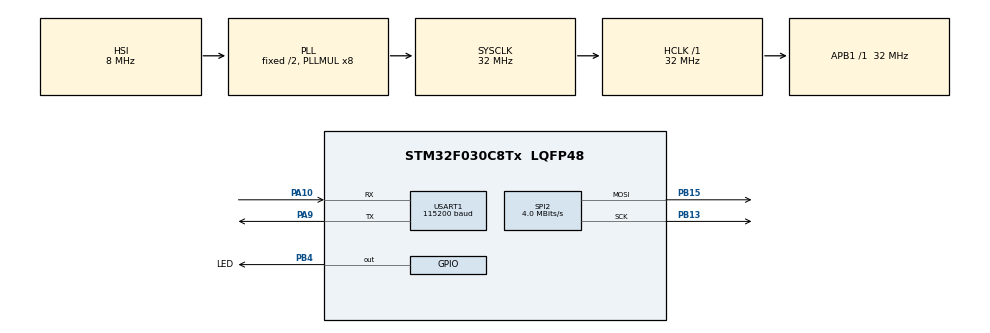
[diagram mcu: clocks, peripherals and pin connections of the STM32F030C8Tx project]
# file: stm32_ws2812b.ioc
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Dma.Request0=SPI2_TX
Dma.SPI2_TX.0.Direction=DMA_MEMORY_TO_PERIPH
Dma.SPI2_TX.0.Instance=DMA1_Channel5
Dma.SPI2_TX.0.MemDataAlignment=DMA_MDATAALIGN_BYTE
Dma.SPI2_TX.0.MemInc=DMA_MINC_ENABLE
Dma.SPI2_TX.0.Mode=DMA_NORMAL
Dma.SPI2_TX.0.PeriphDataAlignment=DMA_PDATAALIGN_BYTE
Dma.SPI2_TX.0.PeriphInc=DMA_PINC_DISABLE
Dma.SPI2_TX.0.Priority=DMA_PRIORITY_LOW
Mcu.Family=STM32F0
Mcu.Name=STM32F030C8Tx
Mcu.Package=LQFP48
NVIC.DMA1_Channel4_5_IRQn=true\:0\:0\:false\:false\:true\:false
NVIC.SPI2_IRQn=true\:0\:0\:false\:false\:true\:true
NVIC.USART1_IRQn=true\:0\:0\:false\:false\:false\:true
PA10.Mode=Asynchronous
PA10.Signal=USART1_RX
PA13.Mode=Serial_Wire
PA13.Signal=SYS_SWDIO
PA14.Mode=Serial_Wire
PA14.Signal=SYS_SWCLK
PA9.Mode=Asynchronous
PA9.Signal=USART1_TX
PB13.Mode=TX_Only_Simplex_Unidirect_Master
PB13.Signal=SPI2_SCK
PB15.Mode=TX_Only_Simplex_Unidirect_Master
PB15.Signal=SPI2_MOSI
PB4.GPIO_Label=LED
PB4.Signal=GPIO_Output
ProjectManager.HeapSize=0x200
ProjectManager.StackSize=0x400
ProjectManager.TargetToolchain=Makefile
RCC.AHBFreq_Value=32000000
RCC.APB1Freq_Value=32000000
RCC.APB1TimFreq_Value=32000000
RCC.HCLKFreq_Value=32000000
RCC.PLLMUL=RCC_PLL_MUL8
RCC.SYSCLKFreq_VALUE=32000000
RCC.SYSCLKSource=RCC_SYSCLKSOURCE_PLLCLK
SPI2.BaudRatePrescaler=SPI_BAUDRATEPRESCALER_8
SPI2.CLKPhase=SPI_PHASE_2EDGE
SPI2.CalculateBaudRate=4.0 MBits/s
SPI2.DataSize=SPI_DATASIZE_8BIT
SPI2.Direction=SPI_DIRECTION_2LINES
SPI2.Mode=SPI_MODE_MASTER
SPI2.VirtualType=VM_MASTER
USART1.BaudRate=115200
USART1.VirtualMode-Asynchronous=VM_ASYNC
board=custom

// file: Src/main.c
/**
  ******************************************************************************
  * @file           : main.c
  * @brief          : Main program body
  ******************************************************************************
  ** This notice applies to any and all portions of this file
  * that are not between comment pairs USER CODE BEGIN and
  * USER CODE END. Other portions of this file, whether
  * inserted by the user or by software development tools
  * are owned by their respective copyright owners.
  *
  * COPYRIGHT(c) 2018 STMicroelectronics
  *
  * Redistribution and use in source and binary forms, with or without modification,
  * are permitted provided that the following conditions are met:
  *   1. Redistributions of source code must retain the above copyright notice,
  *      this list of conditions and the following disclaimer.
  *   2. Redistributions in binary form must reproduce the above copyright notice,
  *      this list of conditions and the following disclaimer in the documentation
  *      and/or other materials provided with the distribution.
  *   3. Neither the name of STMicroelectronics nor the names of its contributors
  *      may be used to endorse or promote products derived from this software
  *      without specific prior written permission.
  *
  * THIS SOFTWARE IS PROVIDED BY THE COPYRIGHT HOLDERS AND CONTRIBUTORS "AS IS"
  * AND ANY EXPRESS OR IMPLIED WARRANTIES, INCLUDING, BUT NOT LIMITED TO, THE
  * IMPLIED WARRANTIES OF MERCHANTABILITY AND FITNESS FOR A PARTICULAR PURPOSE ARE
  * DISCLAIMED. IN NO EVENT SHALL THE COPYRIGHT HOLDER OR CONTRIBUTORS BE LIABLE
  * FOR ANY DIRECT, INDIRECT, INCIDENTAL, SPECIAL, EXEMPLARY, OR CONSEQUENTIAL
  * DAMAGES (INCLUDING, BUT NOT LIMITED TO, PROCUREMENT OF SUBSTITUTE GOODS OR
  * SERVICES; LOSS OF USE, DATA, OR PROFITS; OR BUSINESS INTERRUPTION) HOWEVER
  * CAUSED AND ON ANY THEORY OF LIABILITY, WHETHER IN CONTRACT, STRICT LIABILITY,
  * OR TORT (INCLUDING NEGLIGENCE OR OTHERWISE) ARISING IN ANY WAY OUT OF THE USE
  * OF THIS SOFTWARE, EVEN IF ADVISED OF THE POSSIBILITY OF SUCH DAMAGE.
  *
  ******************************************************************************
  */
#include "main.h"
#include "stm32f0xx_hal.h"

/* USER CODE BEGIN Includes */
#include "console.h"
#include "ws2812b.h"

/* USER CODE END Includes */

SPI_HandleTypeDef hspi2;
DMA_HandleTypeDef hdma_spi2_tx;

UART_HandleTypeDef huart1;

/* USER CODE BEGIN PV */
/* Private variables ---------------------------------------------------------*/
void cmd_loop(void);

/* USER CODE END PV */

void SystemClock_Config(void);
static void MX_GPIO_Init(void);
static void MX_DMA_Init(void);
static void MX_SPI2_Init(void);
static void MX_USART1_UART_Init(void);

/* USER CODE BEGIN PFP */
/* Private function prototypes -----------------------------------------------*/

/* USER CODE END PFP */

/* USER CODE BEGIN 0 */
void ws2812_hw_send(uint8_t *data, uint32_t size)
{
  HAL_SPI_Transmit_DMA(&hspi2, data, size);
}

void ws2812_hw_delay_ms(uint32_t ms)
{
    HAL_Delay(ms);
}

/* USER CODE END 0 */

int main(void)
{

  /* MCU Configuration----------------------------------------------------------*/

  /* Reset of all peripherals, Initializes the Flash interface and the Systick. */
  HAL_Init();

  /* Configure the system clock */
  SystemClock_Config();

  /* Initialize all configured peripherals */
  MX_GPIO_Init();
  MX_DMA_Init();
  MX_SPI2_Init();
  MX_USART1_UART_Init();
  /* USER CODE BEGIN 2 */
  console_init(&huart1);

  ws2812_init();

  printf("stm32 ws2812b start.\n");
  cmd_loop();
  /* USER CODE END 2 */

  /* Infinite loop */
  /* USER CODE BEGIN WHILE */
  while (1)
  {
    printf("loop\n");
    color_wipe(255, 0, 0);
    color_wipe(0, 255, 0);
    color_wipe(0, 0, 255);

    threater_chase(127, 127, 127);
    threater_chase(127, 0, 0);
    threater_chase(0, 0, 127);

    rainbow(20, 1);
    rainbow_cycle(20, 5);
    threater_chase_rainbow();

  /* USER CODE END WHILE */

  }

}

void SystemClock_Config(void)
{

  RCC_OscInitTypeDef RCC_OscInitStruct;
  RCC_ClkInitTypeDef RCC_ClkInitStruct;
  RCC_PeriphCLKInitTypeDef PeriphClkInit;

    /**Initializes the CPU, AHB and APB busses clocks
    */
  RCC_OscInitStruct.OscillatorType = RCC_OSCILLATORTYPE_HSI;
  RCC_OscInitStruct.HSIState = RCC_HSI_ON;
  RCC_OscInitStruct.HSICalibrationValue = 16;
  RCC_OscInitStruct.PLL.PLLState = RCC_PLL_ON;
  RCC_OscInitStruct.PLL.PLLSource = RCC_PLLSOURCE_HSI;
  RCC_OscInitStruct.PLL.PLLMUL = RCC_PLL_MUL8;
  RCC_OscInitStruct.PLL.PREDIV = RCC_PREDIV_DIV1;
  if (HAL_RCC_OscConfig(&RCC_OscInitStruct) != HAL_OK)
  {
    _Error_Handler(__FILE__, __LINE__);
  }

    /**Initializes the CPU, AHB and APB busses clocks
    */
  RCC_ClkInitStruct.ClockType = RCC_CLOCKTYPE_HCLK|RCC_CLOCKTYPE_SYSCLK
                              |RCC_CLOCKTYPE_PCLK1;
  RCC_ClkInitStruct.SYSCLKSource = RCC_SYSCLKSOURCE_PLLCLK;
  RCC_ClkInitStruct.AHBCLKDivider = RCC_SYSCLK_DIV1;
  RCC_ClkInitStruct.APB1CLKDivider = RCC_HCLK_DIV1;

  if (HAL_RCC_ClockConfig(&RCC_ClkInitStruct, FLASH_LATENCY_1) != HAL_OK)
  {
    _Error_Handler(__FILE__, __LINE__);
  }

  PeriphClkInit.PeriphClockSelection = RCC_PERIPHCLK_USART1;
  PeriphClkInit.Usart1ClockSelection = RCC_USART1CLKSOURCE_PCLK1;
  if (HAL_RCCEx_PeriphCLKConfig(&PeriphClkInit) != HAL_OK)
  {
    _Error_Handler(__FILE__, __LINE__);
  }

    /**Configure the Systick interrupt time
    */
  HAL_SYSTICK_Config(HAL_RCC_GetHCLKFreq()/1000);

    /**Configure the Systick
    */
  HAL_SYSTICK_CLKSourceConfig(SYSTICK_CLKSOURCE_HCLK);

  /* SysTick_IRQn interrupt configuration */
  HAL_NVIC_SetPriority(SysTick_IRQn, 0, 0);
}

/* SPI2 init function */
static void MX_SPI2_Init(void)
{

  /* SPI2 parameter configuration*/
  hspi2.Instance = SPI2;
  hspi2.Init.Mode = SPI_MODE_MASTER;
  hspi2.Init.Direction = SPI_DIRECTION_2LINES;
  hspi2.Init.DataSize = SPI_DATASIZE_8BIT;
  hspi2.Init.CLKPolarity = SPI_POLARITY_LOW;
  hspi2.Init.CLKPhase = SPI_PHASE_2EDGE;
  hspi2.Init.NSS = SPI_NSS_SOFT;
  hspi2.Init.BaudRatePrescaler = SPI_BAUDRATEPRESCALER_8;
  hspi2.Init.FirstBit = SPI_FIRSTBIT_MSB;
  hspi2.Init.TIMode = SPI_TIMODE_DISABLE;
  hspi2.Init.CRCCalculation = SPI_CRCCALCULATION_DISABLE;
  hspi2.Init.CRCPolynomial = 7;
  hspi2.Init.CRCLength = SPI_CRC_LENGTH_DATASIZE;
  hspi2.Init.NSSPMode = SPI_NSS_PULSE_DISABLE;
  if (HAL_SPI_Init(&hspi2) != HAL_OK)
  {
    _Error_Handler(__FILE__, __LINE__);
  }

}

/* USART1 init function */
static void MX_USART1_UART_Init(void)
{

  huart1.Instance = USART1;
  huart1.Init.BaudRate = 115200;
  huart1.Init.WordLength = UART_WORDLENGTH_8B;
  huart1.Init.StopBits = UART_STOPBITS_1;
  huart1.Init.Parity = UART_PARITY_NONE;
  huart1.Init.Mode = UART_MODE_TX_RX;
  huart1.Init.HwFlowCtl = UART_HWCONTROL_NONE;
  huart1.Init.OverSampling = UART_OVERSAMPLING_16;
  huart1.Init.OneBitSampling = UART_ONE_BIT_SAMPLE_DISABLE;
  huart1.AdvancedInit.AdvFeatureInit = UART_ADVFEATURE_NO_INIT;
  if (HAL_UART_Init(&huart1) != HAL_OK)
  {
    _Error_Handler(__FILE__, __LINE__);
  }

}

static void MX_DMA_Init(void)
{
  /* DMA controller clock enable */
  __HAL_RCC_DMA1_CLK_ENABLE();

  /* DMA interrupt init */
  /* DMA1_Channel4_5_IRQn interrupt configuration */
  HAL_NVIC_SetPriority(DMA1_Channel4_5_IRQn, 0, 0);
  HAL_NVIC_EnableIRQ(DMA1_Channel4_5_IRQn);

}

/** Configure pins as
        * Analog
        * Input
        * Output
        * EVENT_OUT
        * EXTI
*/
static void MX_GPIO_Init(void)
{

  GPIO_InitTypeDef GPIO_InitStruct;

  /* GPIO Ports Clock Enable */
  __HAL_RCC_GPIOB_CLK_ENABLE();
  __HAL_RCC_GPIOA_CLK_ENABLE();

  /*Configure GPIO pin Output Level */
  HAL_GPIO_WritePin(LED_GPIO_Port, LED_Pin, GPIO_PIN_RESET);

  /*Configure GPIO pin : LED_Pin */
  GPIO_InitStruct.Pin = LED_Pin;
  GPIO_InitStruct.Mode = GPIO_MODE_OUTPUT_PP;
  GPIO_InitStruct.Pull = GPIO_NOPULL;
  GPIO_InitStruct.Speed = GPIO_SPEED_FREQ_LOW;
  HAL_GPIO_Init(LED_GPIO_Port, &GPIO_InitStruct);

}

void _Error_Handler(char *file, int line)
{
  while(1)
  {
  }
}

/************************ (C) COPYRIGHT STMicroelectronics *****END OF FILE****/
